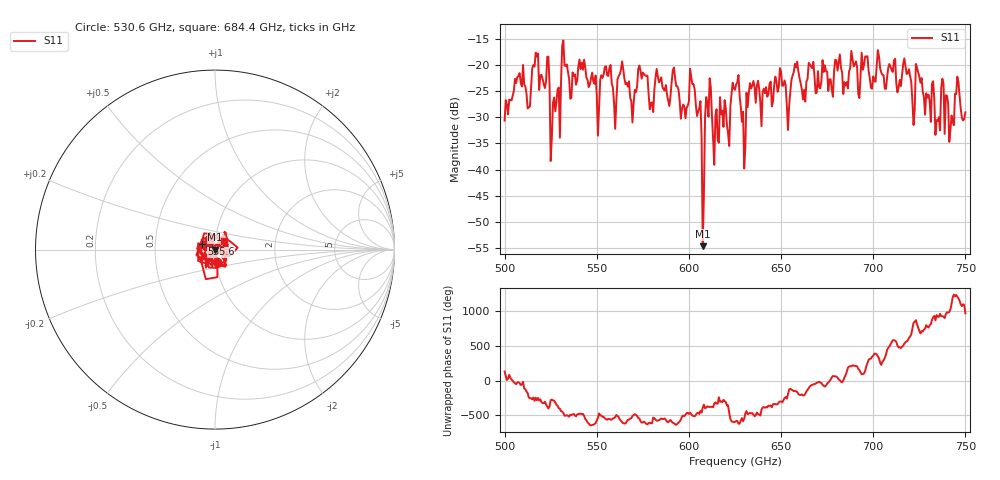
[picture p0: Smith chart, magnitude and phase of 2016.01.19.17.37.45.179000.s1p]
!Created with skrf (http://scikit-rf.org).
# GHz S RI R 50.0
!freq ReS11 ImS11
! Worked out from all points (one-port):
!   401 points, 500 GHz to 750 GHz, reference 50 ohm
!   lowest |S11| = -54.7 dB at 607.5 GHz (marker M1), VSWR 1.00, Z = 50.2 - j0.0829 ohm
!   |S11| at or under -10 dB: start of sweep to end of sweep
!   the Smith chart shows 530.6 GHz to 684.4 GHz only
!   S11 on the Smith chart (normalised r, x): 530.6 GHz: 1.02, -0.14; 555.6 GHz: 0.86, +0.05; 684.4 GHz: 1.10, +0.11
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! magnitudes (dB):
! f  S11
! 500 GHz  -30.6
! 506.9 GHz  -22.3
! 513.1 GHz  -28.1
! 516.9 GHz  -17.6
! 526.2 GHz  -27.2
! 530.6 GHz  -23.0
! 531.2 GHz  -16.2
! 550 GHz  -25.7
! 555.6 GHz  -21.9
! 559.4 GHz  -27.3
! 562.5 GHz  -21.7
! 593.8 GHz  -24.1
! 601.9 GHz  -23.6
! 607.5 GHz  -54.7
! 610.6 GHz  -29.9
! 615 GHz  -28.5
! 625 GHz  -24.7
! 629.4 GHz  -28.9
! 633.8 GHz  -24.5
! 656.2 GHz  -22.0
! 684.4 GHz  -23.2
! 687.5 GHz  -20.6
! 718.8 GHz  -21.6
! 735 GHz  -30.7
! 738.1 GHz  -23.5
! 742.5 GHz  -29.7
! 745.6 GHz  -22.2
! 750 GHz  -29.0
